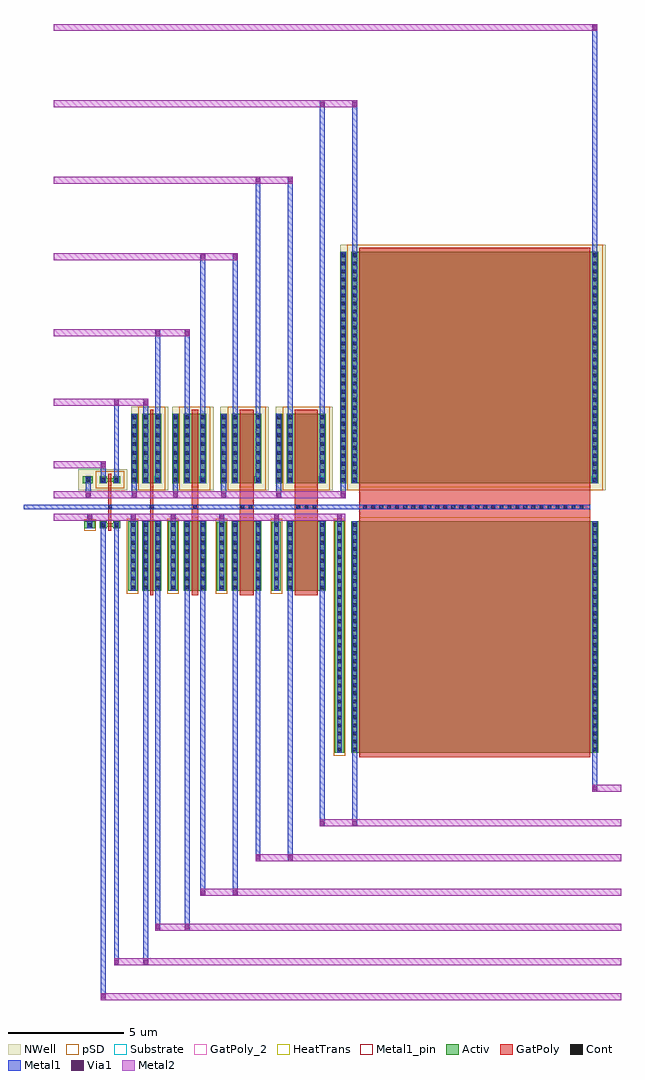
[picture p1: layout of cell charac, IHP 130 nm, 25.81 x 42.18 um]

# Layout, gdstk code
import gdstk
lib = gdstk.Library(unit=1e-6, precision=1e-09)
def R(c, l, rs):  # rectangles x0, y0, x1, y1
    for r in rs: c.add(gdstk.rectangle(r[:2], r[2:], *l))
def A(c, l, x, y, w, h, nx, ny, dx, dy):  # array of equal rectangles
    R(c, l, [(x+i*dx, y+j*dy, x+i*dx+w, y+j*dy+h) for i in range(nx) for j in range(ny)])
Activ = (1, 0)
GatPoly = (5, 0)
GatPoly_2 = (5, 2)
Cont = (6, 0)
Metal1 = (8, 0)
Metal1_pin = (8, 2)
Metal2 = (10, 0)
pSD = (14, 0)
Via1 = (19, 0)
NWell = (31, 0)
Substrate = (40, 0)
HeatTrans = (51, 0)

pmos_5 = lib.new_cell('pmos$5')
R(pmos_5, Activ, [(0,0,0.3,0.3), (0.57,0,0.87,0.3), (0,0.075,0.87,0.225)])
R(pmos_5, GatPoly, [(0.37,-0.105,0.5,0.405), (0.37,-0.105,0.5,0.405)])
R(pmos_5, Cont, [(0.07,0.07,0.23,0.23), (0.64,0.07,0.8,0.23)])
R(pmos_5, Metal1, [(0.07,0.02,0.23,0.28), (0.07,0.02,0.23,0.28), (0.64,0.02,0.8,0.28), (0.64,0.02,0.8,0.28)])
R(pmos_5, pSD, [(-0.18,-0.225,1.05,0.525)])
R(pmos_5, NWell, [(-0.31,-0.31,1.18,0.61)])
R(pmos_5, Substrate, [(0.57,0,0.87,0.3)])
R(pmos_5, HeatTrans, [(0.37,-0.105,0.5,0.405)])
pmos_5.add(gdstk.Label('pmos', (0.435,0.15), layer=63, texttype=0))
pmos_5.add(gdstk.Label('pmos', (0.435,0.15), layer=51, texttype=0))

pmos_4 = lib.new_cell('pmos$4')
R(pmos_4, Activ, [(0,0,0.3,0.3), (0,0,0.81,3), (0.51,0,0.81,0.3)])
R(pmos_4, GatPoly, [(0.34,-0.18,0.47,3.18), (0.34,-0.18,0.47,3.18)])
A(pmos_4, Cont, 0.07, 0.07, 0.16, 0.16, 1, 7, 0, 0.385)
A(pmos_4, Cont, 0.58, 0.07, 0.16, 0.16, 1, 7, 0, 0.385)
R(pmos_4, Cont, [(0.07,2.77,0.23,2.93), (0.58,2.77,0.74,2.93)])
R(pmos_4, Metal1, [(0.07,0,0.23,3), (0.07,0,0.23,3), (0.58,0,0.74,3), (0.58,0,0.74,3)])
R(pmos_4, pSD, [(-0.18,-0.3,0.99,3.3)])
R(pmos_4, NWell, [(-0.31,-0.31,1.12,3.31)])
R(pmos_4, Substrate, [(0.51,0,0.81,0.3)])
R(pmos_4, HeatTrans, [(0.34,-0.18,0.47,3.18)])
pmos_4.add(gdstk.Label('pmos', (0.405,1.5), layer=63, texttype=0))
pmos_4.add(gdstk.Label('pmos', (0.405,1.5), layer=51, texttype=0))

pmos_3 = lib.new_cell('pmos$3')
R(pmos_3, Activ, [(0,0,0.3,0.3), (0,0,0.98,3), (0.68,0,0.98,0.3)])
R(pmos_3, GatPoly, [(0.34,-0.18,0.64,3.18), (0.34,-0.18,0.64,3.18)])
A(pmos_3, Cont, 0.07, 0.07, 0.16, 0.16, 1, 7, 0, 0.385)
A(pmos_3, Cont, 0.75, 0.07, 0.16, 0.16, 1, 7, 0, 0.385)
R(pmos_3, Cont, [(0.07,2.77,0.23,2.93), (0.75,2.77,0.91,2.93)])
R(pmos_3, Metal1, [(0.07,0,0.23,3), (0.07,0,0.23,3), (0.75,0,0.91,3), (0.75,0,0.91,3)])
R(pmos_3, pSD, [(-0.18,-0.3,1.16,3.3)])
R(pmos_3, NWell, [(-0.31,-0.31,1.29,3.31)])
R(pmos_3, Substrate, [(0.68,0,0.98,0.3)])
R(pmos_3, HeatTrans, [(0.34,-0.18,0.64,3.18)])
pmos_3.add(gdstk.Label('pmos', (0.49,1.5), layer=63, texttype=0))
pmos_3.add(gdstk.Label('pmos', (0.49,1.5), layer=51, texttype=0))

pmos_2 = lib.new_cell('pmos$2')
R(pmos_2, Activ, [(0,0,0.3,0.3), (0,0,1.28,3), (0.98,0,1.28,0.3)])
R(pmos_2, GatPoly, [(0.34,-0.18,0.94,3.18), (0.34,-0.18,0.94,3.18)])
A(pmos_2, Cont, 0.07, 0.07, 0.16, 0.16, 1, 7, 0, 0.385)
A(pmos_2, Cont, 1.05, 0.07, 0.16, 0.16, 1, 7, 0, 0.385)
R(pmos_2, Cont, [(0.07,2.77,0.23,2.93), (1.05,2.77,1.21,2.93)])
R(pmos_2, Metal1, [(0.07,0,0.23,3), (0.07,0,0.23,3), (1.05,0,1.21,3), (1.05,0,1.21,3)])
R(pmos_2, pSD, [(-0.18,-0.3,1.46,3.3)])
R(pmos_2, NWell, [(-0.31,-0.31,1.59,3.31)])
R(pmos_2, Substrate, [(0.98,0,1.28,0.3)])
R(pmos_2, HeatTrans, [(0.34,-0.18,0.94,3.18)])
pmos_2.add(gdstk.Label('pmos', (0.64,1.5), layer=63, texttype=0))
pmos_2.add(gdstk.Label('pmos', (0.64,1.5), layer=51, texttype=0))

pmos_1 = lib.new_cell('pmos$1')
R(pmos_1, Activ, [(0,0,0.3,0.3), (0,0,10.68,10), (10.38,0,10.68,0.3)])
R(pmos_1, GatPoly, [(0.34,-0.18,10.34,10.18), (0.34,-0.18,10.34,10.18)])
A(pmos_1, Cont, 0.07, 0.07, 0.16, 0.16, 1, 4, 0, 0.345)
A(pmos_1, Cont, 10.45, 0.07, 0.16, 0.16, 1, 4, 0, 0.345)
A(pmos_1, Cont, 0.07, 1.455, 0.16, 0.16, 1, 3, 0, 0.345)
A(pmos_1, Cont, 10.45, 1.455, 0.16, 0.16, 1, 3, 0, 0.345)
A(pmos_1, Cont, 0.07, 2.495, 0.16, 0.16, 1, 4, 0, 0.345)
A(pmos_1, Cont, 10.45, 2.495, 0.16, 0.16, 1, 4, 0, 0.345)
A(pmos_1, Cont, 0.07, 3.88, 0.16, 0.16, 1, 3, 0, 0.345)
A(pmos_1, Cont, 10.45, 3.88, 0.16, 0.16, 1, 3, 0, 0.345)
A(pmos_1, Cont, 0.07, 4.92, 0.16, 0.16, 1, 4, 0, 0.345)
A(pmos_1, Cont, 10.45, 4.92, 0.16, 0.16, 1, 4, 0, 0.345)
A(pmos_1, Cont, 0.07, 6.305, 0.16, 0.16, 1, 3, 0, 0.345)
A(pmos_1, Cont, 10.45, 6.305, 0.16, 0.16, 1, 3, 0, 0.345)
A(pmos_1, Cont, 0.07, 7.345, 0.16, 0.16, 1, 4, 0, 0.345)
A(pmos_1, Cont, 10.45, 7.345, 0.16, 0.16, 1, 4, 0, 0.345)
A(pmos_1, Cont, 0.07, 8.73, 0.16, 0.16, 1, 3, 0, 0.345)
A(pmos_1, Cont, 10.45, 8.73, 0.16, 0.16, 1, 3, 0, 0.345)
R(pmos_1, Cont, [(0.07,9.77,0.23,9.93), (10.45,9.77,10.61,9.93)])
R(pmos_1, Metal1, [(0.07,0,0.23,10), (0.07,0,0.23,10), (10.45,0,10.61,10), (10.45,0,10.61,10)])
R(pmos_1, pSD, [(-0.18,-0.3,10.86,10.3)])
R(pmos_1, NWell, [(-0.31,-0.31,10.99,10.31)])
R(pmos_1, Substrate, [(10.38,0,10.68,0.3)])
R(pmos_1, HeatTrans, [(0.34,-0.18,10.34,10.18)])
pmos_1.add(gdstk.Label('pmos', (5.34,5), layer=63, texttype=0))
pmos_1.add(gdstk.Label('pmos', (5.34,5), layer=51, texttype=0))

pmos = lib.new_cell('pmos')
R(pmos, Activ, [(0,0,0.3,0.3), (0,0,1.68,3), (1.38,0,1.68,0.3)])
R(pmos, GatPoly, [(0.34,-0.18,1.34,3.18), (0.34,-0.18,1.34,3.18)])
A(pmos, Cont, 0.07, 0.07, 0.16, 0.16, 1, 7, 0, 0.385)
A(pmos, Cont, 1.45, 0.07, 0.16, 0.16, 1, 7, 0, 0.385)
R(pmos, Cont, [(0.07,2.77,0.23,2.93), (1.45,2.77,1.61,2.93)])
R(pmos, Metal1, [(0.07,0,0.23,3), (0.07,0,0.23,3), (1.45,0,1.61,3), (1.45,0,1.61,3)])
R(pmos, pSD, [(-0.18,-0.3,1.86,3.3)])
R(pmos, NWell, [(-0.31,-0.31,1.99,3.31)])
R(pmos, Substrate, [(1.38,0,1.68,0.3)])
R(pmos, HeatTrans, [(0.34,-0.18,1.34,3.18)])
pmos.add(gdstk.Label('pmos', (0.84,1.5), layer=63, texttype=0))
pmos.add(gdstk.Label('pmos', (0.84,1.5), layer=51, texttype=0))

nmos_5 = lib.new_cell('nmos$5')
R(nmos_5, Activ, [(0,0,0.3,0.3), (0.57,0,0.87,0.3), (0,0.075,0.87,0.225)])
R(nmos_5, GatPoly, [(0.37,-0.105,0.5,0.405)])
R(nmos_5, GatPoly_2, [(0.37,-0.105,0.5,0.405)])
R(nmos_5, Cont, [(0.07,0.07,0.23,0.23), (0.64,0.07,0.8,0.23)])
R(nmos_5, Metal1, [(0.07,0.02,0.23,0.28), (0.64,0.02,0.8,0.28)])
R(nmos_5, Metal1_pin, [(0.07,0.02,0.23,0.28), (0.64,0.02,0.8,0.28)])
R(nmos_5, HeatTrans, [(0.37,-0.105,0.5,0.405)])
nmos_5.add(gdstk.Label('nmos', (0.435,0.15), layer=63, texttype=0))
nmos_5.add(gdstk.Label('nmos', (0.435,0.15), layer=51, texttype=0))

nmos_4 = lib.new_cell('nmos$4')
R(nmos_4, Activ, [(0,0,0.3,0.3), (0,0,1.68,3), (1.38,0,1.68,0.3)])
R(nmos_4, GatPoly, [(0.34,-0.18,1.34,3.18)])
R(nmos_4, GatPoly_2, [(0.34,-0.18,1.34,3.18)])
A(nmos_4, Cont, 0.07, 0.07, 0.16, 0.16, 1, 7, 0, 0.385)
A(nmos_4, Cont, 1.45, 0.07, 0.16, 0.16, 1, 7, 0, 0.385)
R(nmos_4, Cont, [(0.07,2.77,0.23,2.93), (1.45,2.77,1.61,2.93)])
R(nmos_4, Metal1, [(0.07,0,0.23,3), (1.45,0,1.61,3)])
R(nmos_4, Metal1_pin, [(0.07,0,0.23,3), (1.45,0,1.61,3)])
R(nmos_4, HeatTrans, [(0.34,-0.18,1.34,3.18)])
nmos_4.add(gdstk.Label('nmos', (0.84,1.5), layer=63, texttype=0))
nmos_4.add(gdstk.Label('nmos', (0.84,1.5), layer=51, texttype=0))

nmos_9 = lib.new_cell('nmos$9')
R(nmos_9, Activ, [(0,0,0.3,0.3), (0,0,1.28,3), (0.98,0,1.28,0.3)])
R(nmos_9, GatPoly, [(0.34,-0.18,0.94,3.18)])
R(nmos_9, GatPoly_2, [(0.34,-0.18,0.94,3.18)])
A(nmos_9, Cont, 0.07, 0.07, 0.16, 0.16, 1, 7, 0, 0.385)
A(nmos_9, Cont, 1.05, 0.07, 0.16, 0.16, 1, 7, 0, 0.385)
R(nmos_9, Cont, [(0.07,2.77,0.23,2.93), (1.05,2.77,1.21,2.93)])
R(nmos_9, Metal1, [(0.07,0,0.23,3), (1.05,0,1.21,3)])
R(nmos_9, Metal1_pin, [(0.07,0,0.23,3), (1.05,0,1.21,3)])
R(nmos_9, HeatTrans, [(0.34,-0.18,0.94,3.18)])
nmos_9.add(gdstk.Label('nmos', (0.64,1.5), layer=63, texttype=0))
nmos_9.add(gdstk.Label('nmos', (0.64,1.5), layer=51, texttype=0))

nmos_1 = lib.new_cell('nmos$1')
R(nmos_1, Activ, [(0,0,0.3,0.3), (0,0,0.98,3), (0.68,0,0.98,0.3)])
R(nmos_1, GatPoly, [(0.34,-0.18,0.64,3.18)])
R(nmos_1, GatPoly_2, [(0.34,-0.18,0.64,3.18)])
A(nmos_1, Cont, 0.07, 0.07, 0.16, 0.16, 1, 7, 0, 0.385)
A(nmos_1, Cont, 0.75, 0.07, 0.16, 0.16, 1, 7, 0, 0.385)
R(nmos_1, Cont, [(0.07,2.77,0.23,2.93), (0.75,2.77,0.91,2.93)])
R(nmos_1, Metal1, [(0.07,0,0.23,3), (0.75,0,0.91,3)])
R(nmos_1, Metal1_pin, [(0.07,0,0.23,3), (0.75,0,0.91,3)])
R(nmos_1, HeatTrans, [(0.34,-0.18,0.64,3.18)])
nmos_1.add(gdstk.Label('nmos', (0.49,1.5), layer=63, texttype=0))
nmos_1.add(gdstk.Label('nmos', (0.49,1.5), layer=51, texttype=0))

nmos = lib.new_cell('nmos')
R(nmos, Activ, [(0,0,0.3,0.3), (0,0,0.81,3), (0.51,0,0.81,0.3)])
R(nmos, GatPoly, [(0.34,-0.18,0.47,3.18)])
R(nmos, GatPoly_2, [(0.34,-0.18,0.47,3.18)])
A(nmos, Cont, 0.07, 0.07, 0.16, 0.16, 1, 7, 0, 0.385)
A(nmos, Cont, 0.58, 0.07, 0.16, 0.16, 1, 7, 0, 0.385)
R(nmos, Cont, [(0.07,2.77,0.23,2.93), (0.58,2.77,0.74,2.93)])
R(nmos, Metal1, [(0.07,0,0.23,3), (0.58,0,0.74,3)])
R(nmos, Metal1_pin, [(0.07,0,0.23,3), (0.58,0,0.74,3)])
R(nmos, HeatTrans, [(0.34,-0.18,0.47,3.18)])
nmos.add(gdstk.Label('nmos', (0.405,1.5), layer=63, texttype=0))
nmos.add(gdstk.Label('nmos', (0.405,1.5), layer=51, texttype=0))

nmos_3 = lib.new_cell('nmos$3')
R(nmos_3, Activ, [(0,0,0.3,0.3), (0,0,10.68,10), (10.38,0,10.68,0.3)])
R(nmos_3, GatPoly, [(0.34,-0.18,10.34,10.18)])
R(nmos_3, GatPoly_2, [(0.34,-0.18,10.34,10.18)])
A(nmos_3, Cont, 0.07, 0.07, 0.16, 0.16, 1, 4, 0, 0.345)
A(nmos_3, Cont, 10.45, 0.07, 0.16, 0.16, 1, 4, 0, 0.345)
A(nmos_3, Cont, 0.07, 1.455, 0.16, 0.16, 1, 3, 0, 0.345)
A(nmos_3, Cont, 10.45, 1.455, 0.16, 0.16, 1, 3, 0, 0.345)
A(nmos_3, Cont, 0.07, 2.495, 0.16, 0.16, 1, 4, 0, 0.345)
A(nmos_3, Cont, 10.45, 2.495, 0.16, 0.16, 1, 4, 0, 0.345)
A(nmos_3, Cont, 0.07, 3.88, 0.16, 0.16, 1, 3, 0, 0.345)
A(nmos_3, Cont, 10.45, 3.88, 0.16, 0.16, 1, 3, 0, 0.345)
A(nmos_3, Cont, 0.07, 4.92, 0.16, 0.16, 1, 4, 0, 0.345)
A(nmos_3, Cont, 10.45, 4.92, 0.16, 0.16, 1, 4, 0, 0.345)
A(nmos_3, Cont, 0.07, 6.305, 0.16, 0.16, 1, 3, 0, 0.345)
A(nmos_3, Cont, 10.45, 6.305, 0.16, 0.16, 1, 3, 0, 0.345)
A(nmos_3, Cont, 0.07, 7.345, 0.16, 0.16, 1, 4, 0, 0.345)
A(nmos_3, Cont, 10.45, 7.345, 0.16, 0.16, 1, 4, 0, 0.345)
A(nmos_3, Cont, 0.07, 8.73, 0.16, 0.16, 1, 3, 0, 0.345)
A(nmos_3, Cont, 10.45, 8.73, 0.16, 0.16, 1, 3, 0, 0.345)
R(nmos_3, Cont, [(0.07,9.77,0.23,9.93), (10.45,9.77,10.61,9.93)])
R(nmos_3, Metal1, [(0.07,0,0.23,10), (10.45,0,10.61,10)])
R(nmos_3, Metal1_pin, [(0.07,0,0.23,10), (10.45,0,10.61,10)])
R(nmos_3, HeatTrans, [(0.34,-0.18,10.34,10.18)])
nmos_3.add(gdstk.Label('nmos', (5.34,5), layer=63, texttype=0))
nmos_3.add(gdstk.Label('nmos', (5.34,5), layer=51, texttype=0))

charac = lib.new_cell('charac')
R(charac, Activ, [(-14.11,-64.885,-13.71,-54.885), (-19.21,-57.89,-18.81,-54.89), (-16.845,-57.89,-16.445,-54.89), (-23.035,-57.885,-22.635,-54.885), (-21.305,-57.885,-20.905,-54.885), (-24.945,-55.185,-24.475,-54.885), (-24.995,-53.235,-24.575,-52.935), (-22.915,-53.235,-22.635,-50.235), (-21.135,-53.235,-20.855,-50.235), (-19.055,-53.235,-18.775,-50.235), (-16.675,-53.235,-16.395,-50.235), (-13.885,-53.235,-13.62,-43.235)])
R(charac, GatPoly, [(-23.895,-54.78,-23.765,-53.33), (-18.225,-54.74,-17.625,-53.41), (-20.305,-54.735,-20.005,-53.41), (-15.845,-54.735,-14.845,-53.4), (-22.085,-54.715,-21.955,-53.41), (-13.065,-54.705,-3.065,-53.41), (-23.91,-54.34,-23.75,-54.18), (-22.1,-54.34,-21.94,-54.18)])
A(charac, Cont, -13.99, -64.125, 0.16, 0.16, 1, 3, 0, 0.345)
A(charac, Cont, -13.99, -63.085, 0.16, 0.16, 1, 4, 0, 0.345)
A(charac, Cont, -13.99, -61.7, 0.16, 0.16, 1, 3, 0, 0.345)
A(charac, Cont, -13.99, -59.965, 0.16, 0.16, 1, 4, 0, 0.345)
A(charac, Cont, -13.99, -58.58, 0.16, 0.16, 1, 3, 0, 0.345)
A(charac, Cont, -22.9, -57.815, 0.16, 0.16, 1, 7, 0, 0.385)
A(charac, Cont, -21.18, -57.815, 0.16, 0.16, 1, 7, 0, 0.385)
A(charac, Cont, -19.08, -57.815, 0.16, 0.16, 1, 7, 0, 0.385)
A(charac, Cont, -16.71, -57.815, 0.16, 0.16, 1, 7, 0, 0.385)
A(charac, Cont, -13.99, -57.54, 0.16, 0.16, 1, 4, 0, 0.345)
A(charac, Cont, -13.99, -56.155, 0.16, 0.16, 1, 3, 0, 0.345)
A(charac, Cont, -12.535, -54.34, 0.16, 0.16, 4, 1, 0.345, 0)
A(charac, Cont, -11.15, -54.34, 0.16, 0.16, 4, 1, 0.345, 0)
A(charac, Cont, -9.765, -54.34, 0.16, 0.16, 4, 1, 0.345, 0)
A(charac, Cont, -8.38, -54.34, 0.16, 0.16, 4, 1, 0.345, 0)
A(charac, Cont, -6.995, -54.34, 0.16, 0.16, 5, 1, 0.345, 0)
A(charac, Cont, -5.265, -54.34, 0.16, 0.16, 4, 1, 0.345, 0)
A(charac, Cont, -22.855, -53.165, 0.16, 0.16, 1, 7, 0, 0.385)
A(charac, Cont, -21.075, -53.165, 0.16, 0.16, 1, 7, 0, 0.385)
A(charac, Cont, -18.995, -53.165, 0.16, 0.16, 1, 7, 0, 0.385)
A(charac, Cont, -16.615, -53.165, 0.16, 0.16, 1, 7, 0, 0.385)
A(charac, Cont, -13.835, -52.475, 0.16, 0.16, 1, 3, 0, 0.345)
A(charac, Cont, -13.835, -51.435, 0.16, 0.16, 1, 4, 0, 0.345)
A(charac, Cont, -13.835, -50.05, 0.16, 0.16, 1, 3, 0, 0.345)
A(charac, Cont, -13.835, -48.315, 0.16, 0.16, 1, 4, 0, 0.345)
A(charac, Cont, -13.835, -46.93, 0.16, 0.16, 1, 3, 0, 0.345)
A(charac, Cont, -13.835, -45.89, 0.16, 0.16, 1, 4, 0, 0.345)
A(charac, Cont, -13.835, -44.505, 0.16, 0.16, 1, 3, 0, 0.345)
R(charac, Cont, [(-13.99,-64.82,-13.83,-64.66), (-13.99,-64.475,-13.83,-64.315), (-13.99,-60.66,-13.83,-60.5), (-13.99,-60.315,-13.83,-60.155), (-24.775,-55.115,-24.615,-54.955), (-22.9,-55.115,-22.74,-54.955), (-21.18,-55.115,-21.02,-54.955), (-19.08,-55.115,-18.92,-54.955), (-16.71,-55.115,-16.55,-54.955), (-13.99,-55.115,-13.83,-54.955), (-23.91,-54.34,-23.75,-54.18), (-22.1,-54.34,-21.94,-54.18), (-20.24,-54.34,-20.08,-54.18), (-18.18,-54.34,-18.02,-54.18), (-17.83,-54.34,-17.67,-54.18), (-15.77,-54.34,-15.61,-54.18), (-15.42,-54.34,-15.26,-54.18), (-15.075,-54.34,-14.915,-54.18), (-12.885,-54.34,-12.725,-54.18), (-3.88,-54.34,-3.72,-54.18), (-3.535,-54.34,-3.375,-54.18), (-13.835,-53.17,-13.675,-53.01), (-24.855,-53.165,-24.695,-53.005), (-13.835,-52.825,-13.675,-52.665), (-22.855,-50.465,-22.695,-50.305), (-21.075,-50.465,-20.915,-50.305), (-18.995,-50.465,-18.835,-50.305), (-16.615,-50.465,-16.455,-50.305), (-13.835,-49.01,-13.675,-48.85), (-13.835,-48.665,-13.675,-48.505), (-13.835,-43.465,-13.675,-43.305)])
R(charac, Metal1, [(-24.22,-75.565,-24.01,-54.905), (-23.65,-74.065,-23.44,-54.905), (-22.38,-74.065,-22.17,-54.885), (-21.87,-72.565,-21.66,-54.885), (-20.6,-72.565,-20.39,-54.885), (-19.92,-71.065,-19.71,-54.885), (-18.52,-71.065,-18.31,-54.885), (-17.54,-69.565,-17.33,-54.885), (-16.14,-69.565,-15.93,-54.885), (-14.76,-68.065,-14.55,-54.885), (-13.36,-68.065,-13.15,-54.885), (-2.98,-66.565,-2.77,-54.885), (-14.015,-64.885,-13.805,-54.555), (-22.925,-57.885,-22.715,-54.555), (-21.205,-57.885,-20.995,-54.555), (-19.105,-57.885,-18.895,-54.555), (-16.735,-57.885,-16.525,-54.555), (-24.8,-55.185,-24.59,-54.555), (-27.55,-54.365,-3.065,-54.155), (-24.88,-53.885,-24.67,-52.955), (-22.88,-53.885,-22.67,-50.235), (-21.1,-53.885,-20.89,-50.235), (-19.02,-53.885,-18.81,-50.235), (-16.64,-53.885,-16.43,-50.235), (-13.86,-53.885,-13.65,-43.235), (-22.38,-53.235,-22.17,-49.59), (-21.87,-53.235,-21.66,-46.59), (-20.6,-53.235,-20.39,-46.59), (-19.92,-53.235,-19.71,-43.29), (-18.52,-53.235,-18.31,-43.29), (-17.54,-53.235,-17.33,-39.99), (-16.14,-53.235,-15.93,-39.99), (-14.76,-53.235,-14.55,-36.69), (-13.36,-53.235,-13.15,-36.69), (-2.98,-53.235,-2.77,-33.39), (-24.22,-53.215,-24.01,-52.285), (-23.65,-53.215,-23.44,-49.59)])
R(charac, Metal2, [(-24.22,-75.565,-1.74,-75.265), (-23.65,-74.065,-1.74,-73.765), (-21.87,-72.565,-1.74,-72.265), (-19.92,-71.065,-1.74,-70.765), (-17.54,-69.565,-1.74,-69.265), (-14.76,-68.065,-1.74,-67.765), (-2.98,-66.565,-1.74,-66.265), (-26.25,-54.855,-13.66,-54.555), (-26.25,-53.885,-13.65,-53.585), (-26.25,-52.585,-24.01,-52.285), (-26.25,-49.89,-22.17,-49.59), (-26.25,-46.89,-20.39,-46.59), (-26.25,-43.59,-18.31,-43.29), (-26.25,-40.29,-15.93,-39.99), (-26.25,-36.99,-13.15,-36.69), (-26.25,-33.69,-2.77,-33.39)])
R(charac, pSD, [(-14.16,-65.015,-13.66,-54.765), (-23.105,-58.015,-22.605,-54.765), (-21.355,-58.015,-20.855,-54.765), (-19.26,-58.015,-18.76,-54.765), (-16.89,-58.015,-16.39,-54.765), (-24.945,-55.285,-24.445,-54.785)])
R(charac, Via1, [(-24.21,-75.51,-24.02,-75.32), (-23.64,-74.01,-23.45,-73.82), (-22.37,-74.01,-22.18,-73.82), (-21.86,-72.51,-21.67,-72.32), (-20.59,-72.51,-20.4,-72.32), (-19.91,-71.01,-19.72,-70.82), (-18.51,-71.01,-18.32,-70.82), (-17.53,-69.51,-17.34,-69.32), (-16.13,-69.51,-15.94,-69.32), (-14.75,-68.01,-14.56,-67.82), (-13.35,-68.01,-13.16,-67.82), (-2.97,-66.51,-2.78,-66.32), (-22.915,-54.805,-22.725,-54.615), (-24.79,-54.8,-24.6,-54.61), (-19.095,-54.8,-18.905,-54.61), (-16.725,-54.8,-16.535,-54.61), (-14.005,-54.8,-13.815,-54.61), (-21.195,-54.795,-21.005,-54.605), (-24.87,-53.83,-24.68,-53.64), (-22.87,-53.83,-22.68,-53.64), (-21.09,-53.83,-20.9,-53.64), (-19.01,-53.83,-18.82,-53.64), (-16.63,-53.83,-16.44,-53.64), (-13.85,-53.83,-13.66,-53.64), (-24.21,-52.53,-24.02,-52.34), (-23.64,-49.835,-23.45,-49.645), (-22.37,-49.835,-22.18,-49.645), (-21.86,-46.835,-21.67,-46.645), (-20.59,-46.835,-20.4,-46.645), (-19.91,-43.535,-19.72,-43.345), (-18.51,-43.535,-18.32,-43.345), (-17.53,-40.235,-17.34,-40.045), (-16.13,-40.235,-15.94,-40.045), (-14.75,-36.935,-14.56,-36.745), (-13.35,-36.935,-13.16,-36.745), (-2.97,-33.635,-2.78,-33.445)])
R(charac, NWell, [(-25.2,-53.545,-24.575,-52.625), (-22.915,-53.545,-22.735,-49.925), (-21.135,-53.545,-20.955,-49.925), (-19.055,-53.545,-18.875,-49.925), (-16.675,-53.545,-16.495,-49.925), (-13.885,-53.545,-13.715,-42.925)])
charac.add(gdstk.Reference(pmos_5, (-24.265,-53.235)))
charac.add(gdstk.Reference(pmos_4, (-22.425,-53.235)))
charac.add(gdstk.Reference(pmos_3, (-20.645,-53.235)))
charac.add(gdstk.Reference(pmos_2, (-18.565,-53.235)))
charac.add(gdstk.Reference(pmos_1, (-13.405,-53.235)))
charac.add(gdstk.Reference(pmos, (-16.185,-53.235)))
charac.add(gdstk.Reference(nmos_5, (-24.265,-55.185)))
charac.add(gdstk.Reference(nmos_4, (-16.185,-57.885)))
charac.add(gdstk.Reference(nmos_9, (-18.565,-57.885)))
charac.add(gdstk.Reference(nmos_1, (-20.645,-57.885)))
charac.add(gdstk.Reference(nmos, (-22.425,-57.885)))
charac.add(gdstk.Reference(nmos_3, (-13.405,-64.885)))

lib.write_gds('charac.gds')
